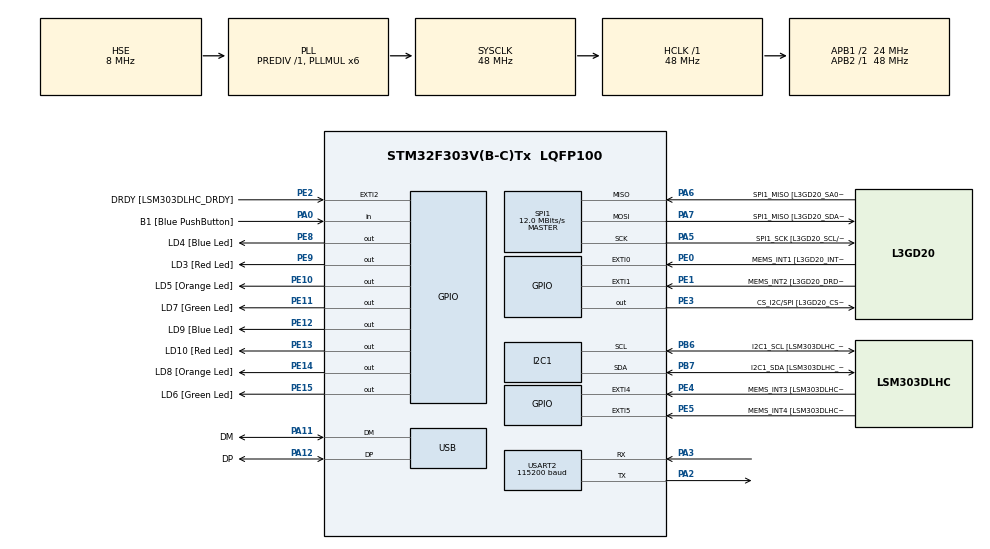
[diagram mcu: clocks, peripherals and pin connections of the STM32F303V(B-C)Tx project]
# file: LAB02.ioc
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I2C1.Timing=0x2000090E
I2C1.Timing-I2C=0x2000090E
Mcu.Family=STM32F3
Mcu.Name=STM32F303V(B-C)Tx
Mcu.Package=LQFP100
NVIC.PriorityGroup=NVIC_PRIORITYGROUP_0
PA0.GPIO_Label=B1 [Blue PushButton]
PA0.Signal=GPIO_Input
PA11.GPIO_Label=DM
PA11.Mode=Device
PA11.Signal=USB_DM
PA12.GPIO_Label=DP
PA12.Mode=Device
PA12.Signal=USB_DP
PA13.GPIO_Label=SWDIO
PA13.Mode=Serial_Wire
PA13.Signal=SYS_JTMS-SWDIO
PA14.GPIO_Label=SWCLK
PA14.Mode=Serial_Wire
PA14.Signal=SYS_JTCK-SWCLK
PA2.Mode=Asynchronous
PA2.Signal=USART2_TX
PA3.Mode=Asynchronous
PA3.Signal=USART2_RX
PA5.GPIO_Label=SPI1_SCK [L3GD20_SCL/SPC]
PA5.Mode=Full_Duplex_Master
PA5.Signal=SPI1_SCK
PA6.GPIO_Label=SPI1_MISO [L3GD20_SA0/SDO]
PA6.Mode=Full_Duplex_Master
PA6.Signal=SPI1_MISO
PA7.GPIO_Label=SPI1_MISO [L3GD20_SDA/SDI/SDO]
PA7.Mode=Full_Duplex_Master
PA7.Signal=SPI1_MOSI
PB3.GPIO_Label=SWO
PB3.Signal=SYS_JTDO-TRACESWO
PB6.GPIO_Label=I2C1_SCL [LSM303DLHC_SCL]
PB6.GPIO_Pu=GPIO_PULLUP
PB6.Mode=I2C
PB6.Signal=I2C1_SCL
PB7.GPIO_Label=I2C1_SDA [LSM303DLHC_SDA]
PB7.GPIO_Pu=GPIO_PULLUP
PB7.Mode=I2C
PB7.Signal=I2C1_SDA
PC14-OSC32_IN.GPIO_Label=OSC32_IN
PC14-OSC32_IN.Signal=RCC_OSC32_IN
PC15-OSC32_OUT.GPIO_Label=OSC32_OUT
PC15-OSC32_OUT.Signal=RCC_OSC32_OUT
PE0.GPIO_Label=MEMS_INT1 [L3GD20_INT1]
PE0.GPIO_ModeDefaultEXTI=GPIO_MODE_EVT_RISING
PE0.Signal=GPXTI0
PE1.GPIO_Label=MEMS_INT2 [L3GD20_DRDY/INT2]
PE1.GPIO_ModeDefaultEXTI=GPIO_MODE_EVT_RISING
PE1.Signal=GPXTI1
PE10.GPIO_Label=LD5 [Orange Led]
PE10.Signal=GPIO_Output
PE11.GPIO_Label=LD7 [Green Led]
PE11.Signal=GPIO_Output
PE12.GPIO_Label=LD9 [Blue Led]
PE12.Signal=GPIO_Output
PE13.GPIO_Label=LD10 [Red Led]
PE13.Signal=GPIO_Output
PE14.GPIO_Label=LD8 [Orange Led]
PE14.Signal=GPIO_Output
PE15.GPIO_Label=LD6 [Green Led]
PE15.Signal=GPIO_Output
PE2.GPIO_Label=DRDY [LSM303DLHC_DRDY]
PE2.GPIO_ModeDefaultEXTI=GPIO_MODE_EVT_RISING
PE2.Signal=GPXTI2
PE3.GPIO_Label=CS_I2C/SPI [L3GD20_CS_I2C/SPI]
PE3.Signal=GPIO_Output
PE4.GPIO_Label=MEMS_INT3 [LSM303DLHC_INT1]
PE4.GPIO_ModeDefaultEXTI=GPIO_MODE_EVT_RISING
PE4.Signal=GPXTI4
PE5.GPIO_Label=MEMS_INT4 [LSM303DLHC_INT2]
PE5.GPIO_ModeDefaultEXTI=GPIO_MODE_EVT_RISING
PE5.Signal=GPXTI5
PE8.GPIO_Label=LD4 [Blue Led]
PE8.Signal=GPIO_Output
PE9.GPIO_Label=LD3 [Red Led]
PE9.Signal=GPIO_Output
PF0-OSC_IN.GPIO_Label=OSC_IN
PF0-OSC_IN.Mode=HSE-External-Clock-Source
PF0-OSC_IN.Signal=RCC_OSC_IN
PF1-OSC_OUT.GPIO_Label=OSC_OUT
PF1-OSC_OUT.Signal=RCC_OSC_OUT
ProjectManager.HeapSize=0x200
ProjectManager.StackSize=0x400
ProjectManager.TargetToolchain=CMake
RCC.AHBFreq_Value=48000000
RCC.APB1CLKDivider=RCC_HCLK_DIV2
RCC.APB1Freq_Value=24000000
RCC.APB1TimFreq_Value=48000000
RCC.APB2Freq_Value=48000000
RCC.APB2TimFreq_Value=48000000
RCC.CortexFreq_Value=48000000
RCC.HCLKFreq_Value=48000000
RCC.HSE_VALUE=8000000
RCC.HSI_VALUE=8000000
RCC.LSE_VALUE=32768
RCC.PLLMUL=RCC_PLL_MUL6
RCC.SYSCLKFreq_VALUE=48000000
RCC.SYSCLKSourceVirtual=RCC_SYSCLKSOURCE_PLLCLK
RCC.USBFreq_Value=48000000
SPI1.BaudRatePrescaler=SPI_BAUDRATEPRESCALER_4
SPI1.BaudRatePrescaler-Full_Duplex_Master=SPI_BAUDRATEPRESCALER_2
SPI1.CalculateBaudRate=12.0 MBits/s
SPI1.CalculateBaudRate-Full_Duplex_Master=24.0 MBits/s
SPI1.Direction=SPI_DIRECTION_2LINES
SPI1.Mode=SPI_MODE_MASTER
SPI1.Mode-Full_Duplex_Master=SPI_MODE_MASTER
SPI1.VirtualType=VM_MASTER
USART2.BaudRate=115200
USART2.VirtualMode-Asynchronous=VM_ASYNC
board=STM32F3DISCOVERY

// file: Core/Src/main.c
/* USER CODE BEGIN Header */
/**
  ******************************************************************************
  * @file           : main.c
  * @brief          : Main program body
  ******************************************************************************
  * @attention
  *
  * Copyright (c) 2026 STMicroelectronics.
  * All rights reserved.
  *
  * This software is licensed under terms that can be found in the LICENSE file
  * in the root directory of this software component.
  * If no LICENSE file comes with this software, it is provided AS-IS.
  *
  ******************************************************************************
  */
/* USER CODE END Header */
#include "main.h"
#include "stdarg.h"
#include "stdio.h"
#include "string.h"

I2C_HandleTypeDef hi2c1;

SPI_HandleTypeDef hspi1;

UART_HandleTypeDef huart2;

PCD_HandleTypeDef hpcd_USB_FS;

void SystemClock_Config(void);
static void MX_GPIO_Init(void);
static void MX_I2C1_Init(void);
static void MX_SPI1_Init(void);
static void MX_USART2_UART_Init(void);
static void MX_USB_PCD_Init(void);

/* USER CODE BEGIN 0 */

void myPrintf1(const char *fmt, ...)
{
  char buffer[128];
  va_list args;

  va_start(args, fmt);
  vsnprintf(buffer, sizeof(buffer), fmt, args);
  va_end(args);

  HAL_UART_Transmit(&huart2,
                    (uint8_t*)buffer,
                    strlen(buffer),
                    HAL_MAX_DELAY);
}

void myPrintf4(int a[2][2], int b[2][2])
{
myPrintf1("\r\n");
myPrintf1("FUNCTION 4\r\n");
int c[2][2];
// Matrix multiplication
int i, j, k;
for ( i = 0; i < 2 ; i++)
{
for ( j = 0; j < 2; j++)
{ c[i][j] = 0; for (k = 0; k < 2; k++)
{ c[i][j] += a[i][k] * b[k][j]; }
}
myPrintf1("Matrix A:\r\n"); for (i=0; i < 2; i++)
{ for ( j = 0 ; j < 2 ; j++)
{ myPrintf1("%d", a[i][j]);
} myPrintf1("\r\n");
} myPrintf1("Matrix B:\r\n"); for ( i = 0; i < 2; i++)
{
for ( j = 0; j < 2; j++) { myPrintf1("%d", b[i][j]);
} myPrintf1("\r\n");
} myPrintf1("Matrix C:\r\n"); for (i = 0; i < 2; i++)
{ for ( j = 0; j < 2; j++) { myPrintf1("%d", c[i][j]);
} myPrintf1("\r\n");
}

/* USER CODE END 0 */

int main(void)
{

  /* MCU Configuration--------------------------------------------------------*/

  /* Reset of all peripherals, Initializes the Flash interface and the Systick. */
  HAL_Init();

  /* Configure the system clock */
  SystemClock_Config();

  /* Initialize all configured peripherals */
  MX_GPIO_Init();
  MX_I2C1_Init();
  MX_SPI1_Init();
  MX_USART2_UART_Init();
  MX_USB_PCD_Init();

  /* Infinite loop */
  /* USER CODE BEGIN WHILE */
  while (1)
  {
  int x = 42;
  float y = 3.14;
  myPrintf1("Value of x = %d, y = %.2f\r\n", x, y);

  int A[2][2] = {{1, 2}, {3, 4}};
  int B[2][2] = {{5, 6}, {7, 8}};
  myPrintMat4(A, B);

    /* USER CODE END WHILE */

  }
}

void SystemClock_Config(void)
{
  RCC_OscInitTypeDef RCC_OscInitStruct = {0};
  RCC_ClkInitTypeDef RCC_ClkInitStruct = {0};
  RCC_PeriphCLKInitTypeDef PeriphClkInit = {0};

  /** Initializes the RCC Oscillators according to the specified parameters
  * in the RCC_OscInitTypeDef structure.
  */
  RCC_OscInitStruct.OscillatorType = RCC_OSCILLATORTYPE_HSI|RCC_OSCILLATORTYPE_HSE;
  RCC_OscInitStruct.HSEState = RCC_HSE_BYPASS;
  RCC_OscInitStruct.HSEPredivValue = RCC_HSE_PREDIV_DIV1;
  RCC_OscInitStruct.HSIState = RCC_HSI_ON;
  RCC_OscInitStruct.HSICalibrationValue = RCC_HSICALIBRATION_DEFAULT;
  RCC_OscInitStruct.PLL.PLLState = RCC_PLL_ON;
  RCC_OscInitStruct.PLL.PLLSource = RCC_PLLSOURCE_HSE;
  RCC_OscInitStruct.PLL.PLLMUL = RCC_PLL_MUL6;
  if (HAL_RCC_OscConfig(&RCC_OscInitStruct) != HAL_OK)
  {
    Error_Handler();
  }

  /** Initializes the CPU, AHB and APB buses clocks
  */
  RCC_ClkInitStruct.ClockType = RCC_CLOCKTYPE_HCLK|RCC_CLOCKTYPE_SYSCLK
                              |RCC_CLOCKTYPE_PCLK1|RCC_CLOCKTYPE_PCLK2;
  RCC_ClkInitStruct.SYSCLKSource = RCC_SYSCLKSOURCE_PLLCLK;
  RCC_ClkInitStruct.AHBCLKDivider = RCC_SYSCLK_DIV1;
  RCC_ClkInitStruct.APB1CLKDivider = RCC_HCLK_DIV2;
  RCC_ClkInitStruct.APB2CLKDivider = RCC_HCLK_DIV1;

  if (HAL_RCC_ClockConfig(&RCC_ClkInitStruct, FLASH_LATENCY_1) != HAL_OK)
  {
    Error_Handler();
  }
  PeriphClkInit.PeriphClockSelection = RCC_PERIPHCLK_USB|RCC_PERIPHCLK_USART2
                              |RCC_PERIPHCLK_I2C1;
  PeriphClkInit.Usart2ClockSelection = RCC_USART2CLKSOURCE_PCLK1;
  PeriphClkInit.I2c1ClockSelection = RCC_I2C1CLKSOURCE_HSI;
  PeriphClkInit.USBClockSelection = RCC_USBCLKSOURCE_PLL;
  if (HAL_RCCEx_PeriphCLKConfig(&PeriphClkInit) != HAL_OK)
  {
    Error_Handler();
  }
}

static void MX_I2C1_Init(void)
{

  hi2c1.Instance = I2C1;
  hi2c1.Init.Timing = 0x2000090E;
  hi2c1.Init.OwnAddress1 = 0;
  hi2c1.Init.AddressingMode = I2C_ADDRESSINGMODE_7BIT;
  hi2c1.Init.DualAddressMode = I2C_DUALADDRESS_DISABLE;
  hi2c1.Init.OwnAddress2 = 0;
  hi2c1.Init.OwnAddress2Masks = I2C_OA2_NOMASK;
  hi2c1.Init.GeneralCallMode = I2C_GENERALCALL_DISABLE;
  hi2c1.Init.NoStretchMode = I2C_NOSTRETCH_DISABLE;
  if (HAL_I2C_Init(&hi2c1) != HAL_OK)
  {
    Error_Handler();
  }

  /** Configure Analogue filter
  */
  if (HAL_I2CEx_ConfigAnalogFilter(&hi2c1, I2C_ANALOGFILTER_ENABLE) != HAL_OK)
  {
    Error_Handler();
  }

  /** Configure Digital filter
  */
  if (HAL_I2CEx_ConfigDigitalFilter(&hi2c1, 0) != HAL_OK)
  {
    Error_Handler();
  }

}

static void MX_SPI1_Init(void)
{

  /* SPI1 parameter configuration*/
  hspi1.Instance = SPI1;
  hspi1.Init.Mode = SPI_MODE_MASTER;
  hspi1.Init.Direction = SPI_DIRECTION_2LINES;
  hspi1.Init.DataSize = SPI_DATASIZE_4BIT;
  hspi1.Init.CLKPolarity = SPI_POLARITY_LOW;
  hspi1.Init.CLKPhase = SPI_PHASE_1EDGE;
  hspi1.Init.NSS = SPI_NSS_SOFT;
  hspi1.Init.BaudRatePrescaler = SPI_BAUDRATEPRESCALER_4;
  hspi1.Init.FirstBit = SPI_FIRSTBIT_MSB;
  hspi1.Init.TIMode = SPI_TIMODE_DISABLE;
  hspi1.Init.CRCCalculation = SPI_CRCCALCULATION_DISABLE;
  hspi1.Init.CRCPolynomial = 7;
  hspi1.Init.CRCLength = SPI_CRC_LENGTH_DATASIZE;
  hspi1.Init.NSSPMode = SPI_NSS_PULSE_ENABLE;
  if (HAL_SPI_Init(&hspi1) != HAL_OK)
  {
    Error_Handler();
  }

}

static void MX_USART2_UART_Init(void)
{

  huart2.Instance = USART2;
  huart2.Init.BaudRate = 115200;
  huart2.Init.WordLength = UART_WORDLENGTH_8B;
  huart2.Init.StopBits = UART_STOPBITS_1;
  huart2.Init.Parity = UART_PARITY_NONE;
  huart2.Init.Mode = UART_MODE_TX_RX;
  huart2.Init.HwFlowCtl = UART_HWCONTROL_NONE;
  huart2.Init.OverSampling = UART_OVERSAMPLING_16;
  huart2.Init.OneBitSampling = UART_ONE_BIT_SAMPLE_DISABLE;
  huart2.AdvancedInit.AdvFeatureInit = UART_ADVFEATURE_NO_INIT;
  if (HAL_UART_Init(&huart2) != HAL_OK)
  {
    Error_Handler();
  }

}

static void MX_USB_PCD_Init(void)
{

  hpcd_USB_FS.Instance = USB;
  hpcd_USB_FS.Init.dev_endpoints = 8;
  hpcd_USB_FS.Init.speed = PCD_SPEED_FULL;
  hpcd_USB_FS.Init.phy_itface = PCD_PHY_EMBEDDED;
  hpcd_USB_FS.Init.low_power_enable = DISABLE;
  hpcd_USB_FS.Init.battery_charging_enable = DISABLE;
  if (HAL_PCD_Init(&hpcd_USB_FS) != HAL_OK)
  {
    Error_Handler();
  }

}

static void MX_GPIO_Init(void)
{
  GPIO_InitTypeDef GPIO_InitStruct = {0};

  /* GPIO Ports Clock Enable */
  __HAL_RCC_GPIOE_CLK_ENABLE();
  __HAL_RCC_GPIOC_CLK_ENABLE();
  __HAL_RCC_GPIOF_CLK_ENABLE();
  __HAL_RCC_GPIOA_CLK_ENABLE();
  __HAL_RCC_GPIOB_CLK_ENABLE();

  /*Configure GPIO pin Output Level */
  HAL_GPIO_WritePin(GPIOE, CS_I2C_SPI_Pin|LD4_Pin|LD3_Pin|LD5_Pin
                          |LD7_Pin|LD9_Pin|LD10_Pin|LD8_Pin
                          |LD6_Pin, GPIO_PIN_RESET);

  /*Configure GPIO pins : DRDY_Pin MEMS_INT3_Pin MEMS_INT4_Pin MEMS_INT1_Pin
                           MEMS_INT2_Pin */
  GPIO_InitStruct.Pin = DRDY_Pin|MEMS_INT3_Pin|MEMS_INT4_Pin|MEMS_INT1_Pin
                          |MEMS_INT2_Pin;
  GPIO_InitStruct.Mode = GPIO_MODE_EVT_RISING;
  GPIO_InitStruct.Pull = GPIO_NOPULL;
  HAL_GPIO_Init(GPIOE, &GPIO_InitStruct);

  /*Configure GPIO pins : CS_I2C_SPI_Pin LD4_Pin LD3_Pin LD5_Pin
                           LD7_Pin LD9_Pin LD10_Pin LD8_Pin
                           LD6_Pin */
  GPIO_InitStruct.Pin = CS_I2C_SPI_Pin|LD4_Pin|LD3_Pin|LD5_Pin
                          |LD7_Pin|LD9_Pin|LD10_Pin|LD8_Pin
                          |LD6_Pin;
  GPIO_InitStruct.Mode = GPIO_MODE_OUTPUT_PP;
  GPIO_InitStruct.Pull = GPIO_NOPULL;
  GPIO_InitStruct.Speed = GPIO_SPEED_FREQ_LOW;
  HAL_GPIO_Init(GPIOE, &GPIO_InitStruct);

  /*Configure GPIO pin : B1_Pin */
  GPIO_InitStruct.Pin = B1_Pin;
  GPIO_InitStruct.Mode = GPIO_MODE_INPUT;
  GPIO_InitStruct.Pull = GPIO_NOPULL;
  HAL_GPIO_Init(B1_GPIO_Port, &GPIO_InitStruct);

}

void Error_Handler(void)
{
  __disable_irq();
  while (1)
  {
  }
}
